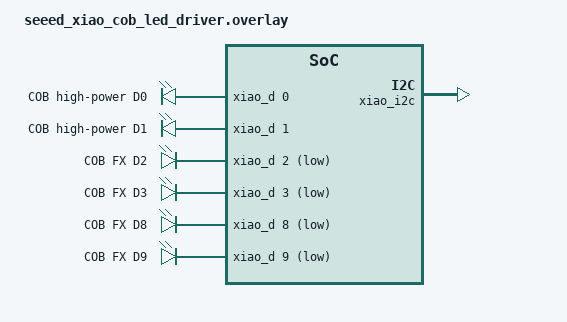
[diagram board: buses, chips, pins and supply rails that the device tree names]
/*
 * Copyright (c) 2026 The Zephyr Project Contributors
 *
 * SPDX-License-Identifier: Apache-2.0
 *
 * Seeed Studio COB LED Driver Board for XIAO — devicetree for MCU-driven outputs.
 * https://wiki.seeedstudio.com/getting_started_with_cob_led_dirver_board/
 */

/ {
	aliases {
		led0 = &cob_led_fx_d2;
		cob-led-hp-d0 = &cob_led_hp_d0;
		cob-led-hp-d1 = &cob_led_hp_d1;
		cob-led-fx-d2 = &cob_led_fx_d2;
		cob-led-fx-d3 = &cob_led_fx_d3;
		cob-led-fx-d8 = &cob_led_fx_d8;
		cob-led-fx-d9 = &cob_led_fx_d9;
	};

	leds {
		compatible = "gpio-leds";

		cob_led_hp_d0: cob_led_hp_d0 {
			gpios = <&xiao_d 0 GPIO_ACTIVE_HIGH>;
			label = "COB high-power D0";
		};

		cob_led_hp_d1: cob_led_hp_d1 {
			gpios = <&xiao_d 1 GPIO_ACTIVE_HIGH>;
			label = "COB high-power D1";
		};

		cob_led_fx_d2: cob_led_fx_d2 {
			gpios = <&xiao_d 2 GPIO_ACTIVE_LOW>;
			label = "COB FX D2";
		};

		cob_led_fx_d3: cob_led_fx_d3 {
			gpios = <&xiao_d 3 GPIO_ACTIVE_LOW>;
			label = "COB FX D3";
		};

		cob_led_fx_d8: cob_led_fx_d8 {
			gpios = <&xiao_d 8 GPIO_ACTIVE_LOW>;
			label = "COB FX D8";
		};

		cob_led_fx_d9: cob_led_fx_d9 {
			gpios = <&xiao_d 9 GPIO_ACTIVE_LOW>;
			label = "COB FX D9";
		};
	};
};

&xiao_i2c {
	status = "okay";
};
